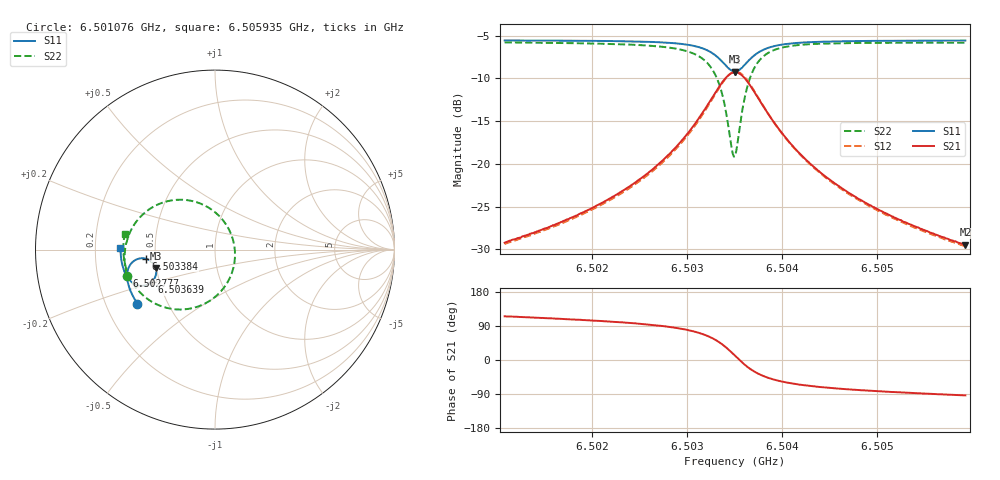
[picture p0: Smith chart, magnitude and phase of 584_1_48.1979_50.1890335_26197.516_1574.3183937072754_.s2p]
#  HZ  S  RI  R  50.00
! Rohde & Schwarz Vector Network Analyzer
! Rohde-Schwarz,ZNB20-2Port,1311601062101988,3.16
! Created: UTC 3/20/2024, 12:02:13 PM
! freq[Hz]  re:S11  im:S11  re:S21  im:S21  re:S12  im:S12  re:S22  im:S22
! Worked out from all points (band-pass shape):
!   401 points, 6.501076 GHz to 6.505935 GHz, reference 50 ohm
!   highest |S21| = -9.29 dB at 6.503505 GHz (marker M1); lowest = -29.5 dB at 6.505935 GHz (marker M2)
!   |S21| within 3 dB of the highest: 6.503263 GHz to 6.503749 GHz (485.3 kHz wide, 0.00746 % of centre)
!   lowest |S11| = -9.2 dB at 6.503505 GHz (marker M3), VSWR 2.06, Z = 24.7 - j5.73 ohm
!   |S11| at or under -10 dB: nowhere
!   |S22| runs from -19.2 to -5.8 dB; largest |S21 - S12| = 0.012
!   S11 on the Smith chart (normalised r, x): 6.501076 GHz: 0.34, -0.28; 6.502777 GHz: 0.33, -0.13; 6.503384 GHz: 0.44, -0.05; 6.503639 GHz: 0.45, -0.19; 6.505935 GHz: 0.31, +0.01
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6.501076e9  -0.432 -0.3018  -0.0147 0.0312  -0.0131 0.0314  -0.4926 -0.1444
6.5018898e9  -0.4662 -0.2407  -0.0139 0.0496  -0.0116 0.0491  -0.5039 -0.056
6.5023149e9  -0.4807 -0.2023  -0.0112 0.0682  -0.00815 0.067  -0.5002 0.0055
6.5027036e9  -0.4894 -0.1584  -0.00129 0.1  0.00226 0.0976  -0.4786 0.0855
6.5027765e9  -0.49 -0.1484  0.00262 0.1089  0.00647 0.1062  -0.4698 0.105
6.502983e9  -0.4861 -0.1151  0.0243 0.1429  0.0279 0.1386  -0.4248 0.1726
6.5031409e9  -0.4712 -0.0828  0.0641 0.1793  0.0668 0.1736  -0.3475 0.2364
6.5032867e9  -0.4329 -0.053  0.1466 0.2085  0.1472 0.2024  -0.1973 0.2778
6.5033353e9  -0.4114 -0.0482  0.1895 0.2071  0.1897 0.2017  -0.122 0.2694
6.5033839e9  -0.3858 -0.0502  0.2392 0.1918  0.2392 0.1875  -0.0373 0.2349
6.5034689e9  -0.3423 -0.0797  0.3186 0.1164  0.3211 0.1126  0.0896 0.0866
6.5035053e9  -0.3312 -0.1021  0.3366 0.0671  0.3404 0.0621  0.1109 -0.00622
6.5035296e9  -0.3281 -0.1187  0.3401 0.0319  0.3443 0.0255  0.1087 -0.0706
6.5035661e9  -0.3301 -0.1432  0.3326 -0.0191  0.3367 -0.0276  0.0813 -0.161
6.503639e9  -0.3527 -0.1809  0.2854 -0.0965  0.2857 -0.108  -0.0303 -0.2862
6.5037483e9  -0.3989 -0.2015  0.197 -0.1424  0.192 -0.1523  -0.2093 -0.3335
6.5039062e9  -0.4468 -0.192  0.1118 -0.1383  0.105 -0.1437  -0.3623 -0.2843
6.5040762e9  -0.475 -0.1707  0.0657 -0.1169  0.0596 -0.1194  -0.4367 -0.2168
6.5043192e9  -0.4961 -0.1409  0.035 -0.0914  0.03 -0.092  -0.4813 -0.1427
6.5046836e9  -0.5118 -0.1019  0.0154 -0.0671  0.012 -0.0667  -0.5041 -0.067
6.505133e9  -0.5212 -0.0596  0.00522 -0.0499  0.00295 -0.0492  -0.5108 -0.00121
6.5059347e9  -0.5266 0.00878  -0.00199 -0.0335  -0.00337 -0.0328  -0.5035 0.0857
